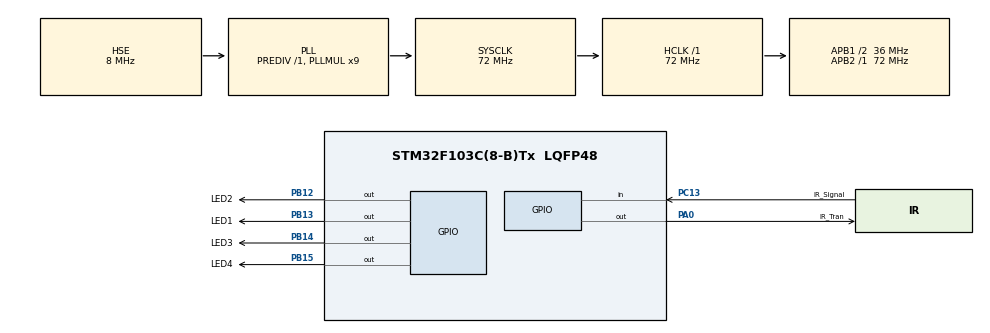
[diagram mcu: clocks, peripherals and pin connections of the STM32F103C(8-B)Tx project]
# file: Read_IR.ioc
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Mcu.Family=STM32F1
Mcu.Name=STM32F103C(8-B)Tx
Mcu.Package=LQFP48
NVIC.PriorityGroup=NVIC_PRIORITYGROUP_4
PA0-WKUP.GPIO_Label=IR_Tran
PA0-WKUP.Signal=GPIO_Output
PA13.Mode=Serial_Wire
PA13.Signal=SYS_JTMS-SWDIO
PA14.Mode=Serial_Wire
PA14.Signal=SYS_JTCK-SWCLK
PB12.GPIO_Label=LED2
PB12.PinState=GPIO_PIN_SET
PB12.Signal=GPIO_Output
PB13.GPIO_Label=LED1
PB13.PinState=GPIO_PIN_SET
PB13.Signal=GPIO_Output
PB14.GPIO_Label=LED3
PB14.PinState=GPIO_PIN_SET
PB14.Signal=GPIO_Output
PB15.GPIO_Label=LED4
PB15.PinState=GPIO_PIN_SET
PB15.Signal=GPIO_Output
PC13-TAMPER-RTC.GPIO_Label=IR_Signal
PC13-TAMPER-RTC.GPIO_PuPd=GPIO_PULLDOWN
PC13-TAMPER-RTC.Signal=GPIO_Input
PD0-OSC_IN.Mode=HSE-External-Oscillator
PD0-OSC_IN.Signal=RCC_OSC_IN
PD1-OSC_OUT.Mode=HSE-External-Oscillator
PD1-OSC_OUT.Signal=RCC_OSC_OUT
ProjectManager.HeapSize=0x200
ProjectManager.StackSize=0x400
ProjectManager.TargetToolchain=MDK-ARM V5
RCC.AHBFreq_Value=72000000
RCC.APB1CLKDivider=RCC_HCLK_DIV2
RCC.APB1Freq_Value=36000000
RCC.APB1TimFreq_Value=72000000
RCC.APB2Freq_Value=72000000
RCC.APB2TimFreq_Value=72000000
RCC.HCLKFreq_Value=72000000
RCC.PLLMUL=RCC_PLL_MUL9
RCC.PLLSourceVirtual=RCC_PLLSOURCE_HSE
RCC.SYSCLKFreq_VALUE=72000000
RCC.SYSCLKSource=RCC_SYSCLKSOURCE_PLLCLK
RCC.USBFreq_Value=72000000
board=Read_IR

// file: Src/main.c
/* USER CODE BEGIN Header */
/**
  ******************************************************************************
  * @file           : main.c
  * @brief          : Main program body
  ******************************************************************************
  * @attention
  *
  * <h2><center>&copy; Copyright (c) 2020 STMicroelectronics.
  * All rights reserved.</center></h2>
  *
  * This software component is licensed by ST under BSD 3-Clause license,
  * the "License"; You may not use this file except in compliance with the
  * License. You may obtain a copy of the License at:
  *                        opensource.org/licenses/BSD-3-Clause
  *
  ******************************************************************************
  */
/* USER CODE END Header */

#include "main.h"

/* USER CODE BEGIN Includes */
#include "dwt_delay.h"

/* USER CODE END Includes */

/* USER CODE BEGIN PV */
/* Private variables ---------------------------------------------------------*/
uint16_t read_ir;
uint8_t bit = 0;
uint8_t count = 0;
/* USER CODE END PV */

void SystemClock_Config(void);
static void MX_GPIO_Init(void);
/* USER CODE BEGIN PFP */
/* Private function prototypes -----------------------------------------------*/

/* USER CODE END PFP */

/* USER CODE BEGIN 0 */

uint16_t read_data()
{
	uint16_t data = 0;
	while(HAL_GPIO_ReadPin(IR_Signal_GPIO_Port,IR_Signal_Pin) == 0);//wait go to high

	for(uint8_t i = 0;i <12;i++)
	{
		while(HAL_GPIO_ReadPin(IR_Signal_GPIO_Port,IR_Signal_Pin) == 1);
		DWT_Delay(700);
		if(HAL_GPIO_ReadPin(IR_Signal_GPIO_Port,IR_Signal_Pin) == 0)
		{
			data |= 1<<(11-i);

		}
		else {}

		while(HAL_GPIO_ReadPin(IR_Signal_GPIO_Port,IR_Signal_Pin) == 0);
	}
	return data&0x0fff;
}

/* USER CODE END 0 */

int main(void)
{

  /* MCU Configuration--------------------------------------------------------*/

  /* Reset of all peripherals, Initializes the Flash interface and the Systick. */
  HAL_Init();

  /* Configure the system clock */
  SystemClock_Config();

  /* Initialize all configured peripherals */
  MX_GPIO_Init();
  /* USER CODE BEGIN 2 */

	DWT_Init();

  /* USER CODE END 2 */

  /* Infinite loop */
  /* USER CODE BEGIN WHILE */
  while (1)
  {

		while(HAL_GPIO_ReadPin(IR_Signal_GPIO_Port,IR_Signal_Pin) == 1);
		read_ir = read_data();
		HAL_Delay(200);
		if(read_ir == 0x0A90)
		{
			count++;
			if(count%2)
			{
				HAL_GPIO_WritePin(LED1_GPIO_Port,LED1_Pin,0);
				HAL_GPIO_WritePin(LED2_GPIO_Port,LED2_Pin,0);
				HAL_GPIO_WritePin(LED3_GPIO_Port,LED3_Pin,0);
				HAL_GPIO_WritePin(LED4_GPIO_Port,LED4_Pin,0);
			}
			else
			{
				HAL_GPIO_WritePin(LED1_GPIO_Port,LED1_Pin,1);
				HAL_GPIO_WritePin(LED2_GPIO_Port,LED2_Pin,1);
				HAL_GPIO_WritePin(LED3_GPIO_Port,LED3_Pin,1);
				HAL_GPIO_WritePin(LED4_GPIO_Port,LED4_Pin,1);
			}

		}
		if(read_ir == 0x0010)
		{
			HAL_GPIO_WritePin(LED1_GPIO_Port,LED1_Pin,0);
			HAL_GPIO_WritePin(LED2_GPIO_Port,LED2_Pin,1);
			HAL_GPIO_WritePin(LED3_GPIO_Port,LED3_Pin,1);
			HAL_GPIO_WritePin(LED4_GPIO_Port,LED4_Pin,1);
		}
		if(read_ir == 0x0810)
		{
			HAL_GPIO_WritePin(LED1_GPIO_Port,LED1_Pin,1);
			HAL_GPIO_WritePin(LED2_GPIO_Port,LED2_Pin,0);
			HAL_GPIO_WritePin(LED3_GPIO_Port,LED3_Pin,1);
			HAL_GPIO_WritePin(LED4_GPIO_Port,LED4_Pin,1);
		}
		if(read_ir == 0x0410)
		{
			HAL_GPIO_WritePin(LED1_GPIO_Port,LED1_Pin,1);
			HAL_GPIO_WritePin(LED2_GPIO_Port,LED2_Pin,1);
			HAL_GPIO_WritePin(LED3_GPIO_Port,LED3_Pin,0);
			HAL_GPIO_WritePin(LED4_GPIO_Port,LED4_Pin,1);
		}
		if(read_ir == 0x0c10)
		{
			HAL_GPIO_WritePin(LED1_GPIO_Port,LED1_Pin,1);
			HAL_GPIO_WritePin(LED2_GPIO_Port,LED2_Pin,1);
			HAL_GPIO_WritePin(LED3_GPIO_Port,LED3_Pin,1);
			HAL_GPIO_WritePin(LED4_GPIO_Port,LED4_Pin,0);
		}
    /* USER CODE END WHILE */

  }
}

void SystemClock_Config(void)
{
  RCC_OscInitTypeDef RCC_OscInitStruct = {0};
  RCC_ClkInitTypeDef RCC_ClkInitStruct = {0};

  /** Initializes the CPU, AHB and APB busses clocks
  */
  RCC_OscInitStruct.OscillatorType = RCC_OSCILLATORTYPE_HSE;
  RCC_OscInitStruct.HSEState = RCC_HSE_ON;
  RCC_OscInitStruct.HSEPredivValue = RCC_HSE_PREDIV_DIV1;
  RCC_OscInitStruct.HSIState = RCC_HSI_ON;
  RCC_OscInitStruct.PLL.PLLState = RCC_PLL_ON;
  RCC_OscInitStruct.PLL.PLLSource = RCC_PLLSOURCE_HSE;
  RCC_OscInitStruct.PLL.PLLMUL = RCC_PLL_MUL9;
  if (HAL_RCC_OscConfig(&RCC_OscInitStruct) != HAL_OK)
  {
    Error_Handler();
  }
  /** Initializes the CPU, AHB and APB busses clocks
  */
  RCC_ClkInitStruct.ClockType = RCC_CLOCKTYPE_HCLK|RCC_CLOCKTYPE_SYSCLK
                              |RCC_CLOCKTYPE_PCLK1|RCC_CLOCKTYPE_PCLK2;
  RCC_ClkInitStruct.SYSCLKSource = RCC_SYSCLKSOURCE_PLLCLK;
  RCC_ClkInitStruct.AHBCLKDivider = RCC_SYSCLK_DIV1;
  RCC_ClkInitStruct.APB1CLKDivider = RCC_HCLK_DIV2;
  RCC_ClkInitStruct.APB2CLKDivider = RCC_HCLK_DIV1;

  if (HAL_RCC_ClockConfig(&RCC_ClkInitStruct, FLASH_LATENCY_2) != HAL_OK)
  {
    Error_Handler();
  }
}

static void MX_GPIO_Init(void)
{
  GPIO_InitTypeDef GPIO_InitStruct = {0};

  /* GPIO Ports Clock Enable */
  __HAL_RCC_GPIOC_CLK_ENABLE();
  __HAL_RCC_GPIOD_CLK_ENABLE();
  __HAL_RCC_GPIOA_CLK_ENABLE();
  __HAL_RCC_GPIOB_CLK_ENABLE();

  /*Configure GPIO pin Output Level */
  HAL_GPIO_WritePin(IR_Tran_GPIO_Port, IR_Tran_Pin, GPIO_PIN_RESET);

  /*Configure GPIO pin Output Level */
  HAL_GPIO_WritePin(GPIOB, LED2_Pin|LED1_Pin|LED3_Pin|LED4_Pin, GPIO_PIN_SET);

  /*Configure GPIO pin : IR_Signal_Pin */
  GPIO_InitStruct.Pin = IR_Signal_Pin;
  GPIO_InitStruct.Mode = GPIO_MODE_INPUT;
  GPIO_InitStruct.Pull = GPIO_PULLDOWN;
  HAL_GPIO_Init(IR_Signal_GPIO_Port, &GPIO_InitStruct);

  /*Configure GPIO pin : IR_Tran_Pin */
  GPIO_InitStruct.Pin = IR_Tran_Pin;
  GPIO_InitStruct.Mode = GPIO_MODE_OUTPUT_PP;
  GPIO_InitStruct.Pull = GPIO_NOPULL;
  GPIO_InitStruct.Speed = GPIO_SPEED_FREQ_LOW;
  HAL_GPIO_Init(IR_Tran_GPIO_Port, &GPIO_InitStruct);

  /*Configure GPIO pins : LED2_Pin LED1_Pin LED3_Pin LED4_Pin */
  GPIO_InitStruct.Pin = LED2_Pin|LED1_Pin|LED3_Pin|LED4_Pin;
  GPIO_InitStruct.Mode = GPIO_MODE_OUTPUT_PP;
  GPIO_InitStruct.Pull = GPIO_NOPULL;
  GPIO_InitStruct.Speed = GPIO_SPEED_FREQ_LOW;
  HAL_GPIO_Init(GPIOB, &GPIO_InitStruct);

}

void Error_Handler(void)
{
  while(1)
  {
  }
}

/************************ (C) COPYRIGHT STMicroelectronics *****END OF FILE****/
